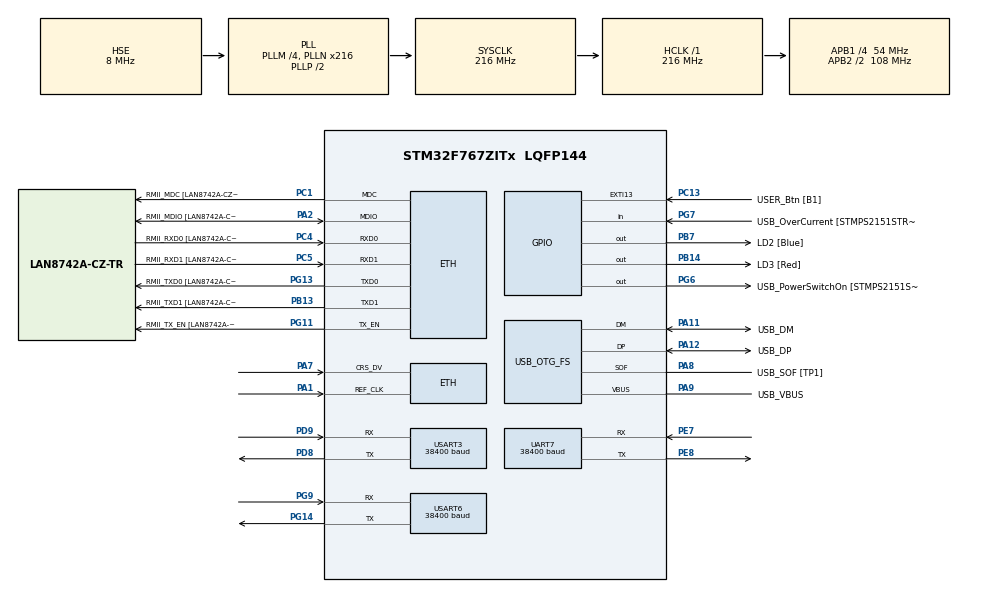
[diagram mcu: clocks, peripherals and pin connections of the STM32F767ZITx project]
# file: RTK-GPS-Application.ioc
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CORTEX_M7.CPU_DCache=Enabled
CORTEX_M7.CPU_ICache=Enabled
CORTEX_M7.Enable-Cortex_Memory_Protection_Unit_Region0_Settings=__NULL
CORTEX_M7.Enable-Cortex_Memory_Protection_Unit_Region1_Settings=__NULL
CORTEX_M7.Enable-Cortex_Memory_Protection_Unit_Region2_Settings=__NULL
CORTEX_M7.MPU_Control=MPU_PRIVILEGED_DEFAULT
CORTEX_M7.PREFETCH_ENABLE=0
Dma.Request0=UART7_RX
Dma.UART7_RX.0.Direction=DMA_PERIPH_TO_MEMORY
Dma.UART7_RX.0.FIFOMode=DMA_FIFOMODE_DISABLE
Dma.UART7_RX.0.Instance=DMA1_Stream3
Dma.UART7_RX.0.MemDataAlignment=DMA_MDATAALIGN_BYTE
Dma.UART7_RX.0.MemInc=DMA_MINC_ENABLE
Dma.UART7_RX.0.Mode=DMA_NORMAL
Dma.UART7_RX.0.PeriphDataAlignment=DMA_PDATAALIGN_BYTE
Dma.UART7_RX.0.PeriphInc=DMA_PINC_DISABLE
Dma.UART7_RX.0.Priority=DMA_PRIORITY_LOW
ETH.MACAddr=00\:80\:E1\:00\:00\:0A
ETH.MediaInterface=HAL_ETH_RMII_MODE
ETH.RxDescAddress=0x2002c000
ETH.TxDescAddress=0x2002c0a0
FREERTOS.INCLUDE_pcTaskGetTaskName=1
FREERTOS.INCLUDE_uxTaskGetStackHighWaterMark=1
FREERTOS.INCLUDE_vTaskDelayUntil=1
FREERTOS.INCLUDE_xQueueGetMutexHolder=1
FREERTOS.INCLUDE_xSemaphoreGetMutexHolder=1
FREERTOS.INCLUDE_xTaskGetCurrentTaskHandle=1
FREERTOS.Queues01=myQueue01,16,uint16_t,0,Dynamic,NULL,NULL
FREERTOS.Tasks01=defaultTask,0,256,StartDefaultTask,Default,NULL,Dynamic,NULL,NULL
FREERTOS.configGENERATE_RUN_TIME_STATS=1
FREERTOS.configRECORD_STACK_HIGH_ADDRESS=1
FREERTOS.configTOTAL_HEAP_SIZE=48000
FREERTOS.configUSE_NEWLIB_REENTRANT=1
FREERTOS.configUSE_STATS_FORMATTING_FUNCTIONS=1
FREERTOS.configUSE_TRACE_FACILITY=1
LWIP.BSP.number=1
LWIP.CMSIS_VERSION-Enabled=1
LWIP.GATEWAY_ADDRESS=192.168.178.001
LWIP.HTTPD_USE_MEM_POOL=0
LWIP.IP_ADDRESS=192.168.178.012
LWIP.LWIP_DHCP=0
LWIP.LWIP_HTTPD=1
LWIP.LWIP_HTTPD_CUSTOM_FILES=0
LWIP.MEMP_NUM_TCP_PCB=10
LWIP.MEMP_NUM_UDP_PCB=10
LWIP.MEM_SIZE=15*1024
LWIP.NETMASK_ADDRESS=255.255.255.000
LWIP.Version=v2.1.2_Cube
LWIP0.BSP.STBoard=false
LWIP0.BSP.api=BSP_COMPONENT_DRIVER
LWIP0.BSP.component=LAN8742
LWIP0.BSP.instance=LAN8742
LWIP0.BSP.name=Driver_PHY
LWIP0.BSP.semaphore=S_LAN8742
LWIP0.BSP.solution=LAN8742
Mcu.Family=STM32F7
Mcu.Name=STM32F767ZITx
Mcu.Package=LQFP144
NVIC.DMA1_Stream3_IRQn=true\:5\:0\:false\:false\:true\:true\:false\:true\:true
NVIC.ETH_IRQn=true\:5\:0\:false\:false\:true\:true\:false\:true\:true
NVIC.ETH_WKUP_IRQn=true\:5\:0\:false\:false\:true\:true\:true\:true\:true
NVIC.PriorityGroup=NVIC_PRIORITYGROUP_4
NVIC.TIM7_IRQn=true\:15\:0\:false\:false\:true\:false\:false\:true\:true
NVIC.TimeBase=TIM7_IRQn
NVIC.TimeBaseIP=TIM7
NVIC.UART7_IRQn=true\:5\:0\:false\:false\:true\:true\:true\:true\:true
NVIC.USART3_IRQn=true\:5\:0\:false\:false\:true\:true\:true\:true\:true
NVIC.USART6_IRQn=true\:5\:0\:false\:false\:true\:true\:true\:true\:true
PA1.Mode=RMII
PA1.Signal=ETH_REF_CLK
PA10.GPIO_Label=USB_ID
PA10.Signal=USB_OTG_FS_ID
PA11.GPIO_Label=USB_DM
PA11.Mode=Device_Only
PA11.Signal=USB_OTG_FS_DM
PA12.GPIO_Label=USB_DP
PA12.Mode=Device_Only
PA12.Signal=USB_OTG_FS_DP
PA13.GPIO_Label=TMS
PA13.Mode=Serial_Wire
PA13.Signal=SYS_JTMS-SWDIO
PA14.GPIO_Label=TCK
PA14.Mode=Serial_Wire
PA14.Signal=SYS_JTCK-SWCLK
PA2.GPIO_Label=RMII_MDIO [LAN8742A-CZ-TR_MDIO]
PA2.Mode=RMII
PA2.Signal=ETH_MDIO
PA7.Mode=RMII
PA7.Signal=ETH_CRS_DV
PA8.GPIO_Label=USB_SOF [TP1]
PA8.Mode=Activate_SOF_FS
PA8.Signal=USB_OTG_FS_SOF
PA9.GPIO_Label=USB_VBUS
PA9.Mode=Activate_VBUS
PA9.Signal=USB_OTG_FS_VBUS
PB13.GPIO_Label=RMII_TXD1 [LAN8742A-CZ-TR_TXD1]
PB13.Mode=RMII
PB13.Signal=ETH_TXD1
PB14.GPIO_Label=LD3 [Red]
PB14.Signal=GPIO_Output
PB3.GPIO_Label=SWO
PB3.Signal=SYS_JTDO-SWO
PB7.GPIO_Label=LD2 [Blue]
PB7.Signal=GPIO_Output
PC1.GPIO_Label=RMII_MDC [LAN8742A-CZ-TR_MDC]
PC1.Mode=RMII
PC1.Signal=ETH_MDC
PC13.GPIO_Label=USER_Btn [B1]
PC13.Signal=GPXTI13
PC14/OSC32_IN.Mode=LSE-External-Oscillator
PC14/OSC32_IN.Signal=RCC_OSC32_IN
PC15/OSC32_OUT.Mode=LSE-External-Oscillator
PC15/OSC32_OUT.Signal=RCC_OSC32_OUT
PC4.GPIO_Label=RMII_RXD0 [LAN8742A-CZ-TR_RXD0]
PC4.Mode=RMII
PC4.Signal=ETH_RXD0
PC5.GPIO_Label=RMII_RXD1 [LAN8742A-CZ-TR_RXD1]
PC5.Mode=RMII
PC5.Signal=ETH_RXD1
PD8.Mode=Asynchronous
PD8.Signal=USART3_TX
PD9.Mode=Asynchronous
PD9.Signal=USART3_RX
PE7.Mode=Asynchronous
PE7.Signal=UART7_RX
PE8.Mode=Asynchronous
PE8.Signal=UART7_TX
PG11.GPIO_Label=RMII_TX_EN [LAN8742A-CZ-TR_TXEN]
PG11.Mode=RMII
PG11.Signal=ETH_TX_EN
PG13.GPIO_Label=RMII_TXD0 [LAN8742A-CZ-TR_TXD0]
PG13.Mode=RMII
PG13.Signal=ETH_TXD0
PG14.Mode=Asynchronous
PG14.Signal=USART6_TX
PG6.GPIO_Label=USB_PowerSwitchOn [STMPS2151STR_EN]
PG6.Signal=GPIO_Output
PG7.GPIO_Label=USB_OverCurrent [STMPS2151STR_FAULT]
PG7.Signal=GPIO_Input
PG9.Mode=Asynchronous
PG9.Signal=USART6_RX
PH0/OSC_IN.GPIO_Label=MCO [STM32F103CBT6_PA8]
PH0/OSC_IN.Mode=HSE-External-Clock-Source
PH0/OSC_IN.Signal=RCC_OSC_IN
PH1/OSC_OUT.Mode=HSE-External-Clock-Source
PH1/OSC_OUT.Signal=RCC_OSC_OUT
ProjectManager.HeapSize=0x200
ProjectManager.StackSize=0x400
ProjectManager.TargetToolchain=STM32CubeIDE
RCC.48MHZClocksFreq_Value=24000000
RCC.AHBFreq_Value=216000000
RCC.APB1CLKDivider=RCC_HCLK_DIV4
RCC.APB1Freq_Value=54000000
RCC.APB1TimFreq_Value=108000000
RCC.APB2CLKDivider=RCC_HCLK_DIV2
RCC.APB2Freq_Value=108000000
RCC.APB2TimFreq_Value=216000000
RCC.CortexFreq_Value=216000000
RCC.HCLKFreq_Value=216000000
RCC.HSE_VALUE=8000000
RCC.HSI_VALUE=16000000
RCC.PLLM=4
RCC.PLLMUL=RCC_PLL_MUL9
RCC.PLLN=216
RCC.PLLQ=9
RCC.PRESCALERUSB=RCC_USBCLKSOURCE_PLL_DIV1_5
RCC.SYSCLKFreq_VALUE=216000000
RCC.SYSCLKSource=RCC_SYSCLKSOURCE_PLLCLK
RCC.SYSCLKSourceVirtual=RCC_SYSCLKSOURCE_PLLCLK
RCC.USBFreq_Value=48000000
RCC.VCOOutputFreq_Value=432000000
UART7.BaudRate=38400
USART3.BaudRate=38400
USART3.VirtualMode-Asynchronous=VM_ASYNC
USART6.BaudRate=38400
USART6.VirtualMode-Asynchronous=VM_ASYNC
USB_OTG_FS.VirtualMode=Device_Only
VP_FREERTOS_VS_CMSIS_V1.Mode=CMSIS_V1
VP_LWIP_VS_Enabled.Mode=Enabled
VP_SYS_VS_tim7.Mode=TIM7
board=NUCLEO-F767ZI

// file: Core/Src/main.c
/* USER CODE BEGIN Header */
/** @mainpage RTK-GPS zur Navigation von mobilen Arbeitsmaschinen
 *
 *	<img src="../img/17719_mobiletronics-gmbh.png" alt="Company image">
 *
 *  @section sec1 Einleitung
 *  Hier folgt eine kurze Einleitung...
 *
 *  @section sec2 Subsysteme
 *  @subsection sec2_1 Basis-Station
 *  @subsection sec2_2 Rover
 *
 * @author Marcel Lammerskitten
 */
// Todo: customise mainpage
/**
  ******************************************************************************
  * @file           : main.c
  * @brief          : Main program body
  ******************************************************************************
  * @attention
  *
  * Copyright (c) 2023 STMicroelectronics.
  * All rights reserved.
  *
  * This software is licensed under terms that can be found in the LICENSE file
  * in the root directory of this software component.
  * If no LICENSE file comes with this software, it is provided AS-IS.
  *
  ******************************************************************************
  */
/* USER CODE END Header */
#include <udpserver.hpp>
#include "main.h"
#include "cmsis_os.h"
#include "lwip.h"

/* USER CODE BEGIN Includes */
#include "flash.h"
#include "stm32f7xx_hal_uart_ex.h"
#include "string.h"
/* USER CODE END Includes */

UART_HandleTypeDef huart7;
UART_HandleTypeDef huart3;
UART_HandleTypeDef huart6;
DMA_HandleTypeDef hdma_uart7_rx;

PCD_HandleTypeDef hpcd_USB_OTG_FS;

osThreadId defaultTaskHandle;
osMessageQId myQueue01Handle;
/* USER CODE BEGIN PV */

#define RxBuf_SIZE		1472
#define	MainBuf_SIZE	1472

SemaphoreHandle_t xSemaphore = NULL;
SemaphoreHandle_t globalsSemaphore = NULL;

uint8_t RxBuf[RxBuf_SIZE];
uint8_t MainBuf[MainBuf_SIZE];

uint16_t RtcmMsgSize = 0;
uint16_t lastRtcmMsgSize = 0;
uint16_t bufPos = 0;
uint8_t isNewRTCM = 0;
uint8_t isRTCM = 0;

// Variable for flash memory access
FlashData_t flashConfig;
/* USER CODE END PV */

void SystemClock_Config(void);
static void MPU_Config(void);
static void MX_GPIO_Init(void);
static void MX_DMA_Init(void);
static void MX_USB_OTG_FS_PCD_Init(void);
static void MX_UART7_Init(void);
static void MX_USART3_UART_Init(void);
static void MX_USART6_UART_Init(void);
void StartDefaultTask(void const * argument);

/* USER CODE BEGIN PFP */
static void MX_UART7_Init_own(uint32_t baud);
/* USER CODE END PFP */

/* USER CODE BEGIN 0 */

//void HAL_UARTEx_RxEventCallback(UART_HandleTypeDef *huart, uint16_t Size)
//{
//	if(huart->Instance == UART7)
//	{
//		memcpy(MainBuf, RxBuf, Size);
//		HAL_UARTEx_ReceiveToIdle_DMA(&huart7, RxBuf, RxBuf_SIZE);
//		__HAL_DMA_DISABLE_IT(&hdma_uart7_rx, DMA_IT_HT);
//	}
//}

/* USER CODE END 0 */

int main(void)
{

  /* MPU Configuration--------------------------------------------------------*/
  MPU_Config();

  /* Enable I-Cache---------------------------------------------------------*/
  SCB_EnableICache();

  /* Enable D-Cache---------------------------------------------------------*/
  SCB_EnableDCache();

  /* MCU Configuration--------------------------------------------------------*/

  /* Reset of all peripherals, Initializes the Flash interface and the Systick. */
  HAL_Init();

  /* Configure the system clock */
  SystemClock_Config();

  /* Initialize all configured peripherals */
  MX_GPIO_Init();
  MX_DMA_Init();
  MX_USB_OTG_FS_PCD_Init();
  MX_UART7_Init();
  MX_USART3_UART_Init();
  MX_USART6_UART_Init();
  /* USER CODE BEGIN 2 */
//  typedef struct
//  {
//      ip4_addr_t 	ownIP;
//      ip4_addr_t 	vehicleIP;
//      ip4_addr_t 	rtcmBroadcastIP;
//      ip4_addr_t 	gateway;
//      ip4_addr_t 	netmask;
//      uint16_t 	vehicleUdpPort;
//      uint16_t 	reserved1;
//      uint16_t	rtcmUdpPort;
//      uint16_t	reserved2;
//      uint32_t	UART2Baud;
//      uint8_t 	isBase;
//      uint8_t		reserved3;
//      uint16_t	reserved4;
//  } FlashData_t;

//  Flash_Read_Data(FLASH_USER_SECTOR_11, (uint8_t *)&flashConfig, sizeof(flashConfig));
//  const char* ip_string = "192.168.178.15";
//  const char* ip_string1 = "255.255.255.0";
//  const char* ip_string2 = "192.168.178.1";
//  const char* ip_string3 = "255.255.255.255";
//  const char* ip_string4 = "192.168.178.47";
//  ip4addr_aton(ip_string, &flashConfig.ownIP);
//  ip4addr_aton(ip_string4, &flashConfig.vehicleIP);
//  ip4addr_aton(ip_string3, &flashConfig.rtcmBroadcastIP);
//  ip4addr_aton(ip_string2, &flashConfig.gateway);
//  ip4addr_aton(ip_string1, &flashConfig.netmask);
//  flashConfig.vehicleUdpPort = 5001;
//  flashConfig.rtcmUdpPort = 5000;
//  flashConfig.UART2Baud = 57600;
//  flashConfig.isBase = 1;
//  flashConfig.reserved1 = 1;
//  flashConfig.reserved2 = 1;
//  flashConfig.reserved3 = 1;
//  flashConfig.reserved4 = 1;
//  Flash_Write_Data(FLASH_USER_SECTOR_11, (uint8_t *)&flashConfig, sizeof(flashConfig));

  Flash_Read_Data(FLASH_USER_SECTOR_11, (uint8_t *)&flashConfig, sizeof(flashConfig));
//  // set UART7 baud rate to the same as the u-blox modules bau rate
  MX_UART7_Init_own(flashConfig.UART2Baud);

  HAL_UARTEx_ReceiveToIdle_DMA(&huart7, RxBuf, RxBuf_SIZE);
  __HAL_DMA_DISABLE_IT(&hdma_uart7_rx, DMA_IT_HT);

  /* Set the UART associated DMA handle */
//  __HAL_LINKDMA(&huart7, hdmarx, hdma_uart7_rx);

//  __HAL_DMA_ENABLE_IT(&hdma_uart7_rx, DMA_IT_TC);
//  HAL_UART_Receive_DMA(&huart7, (uint8_t *)RxBuf, sizeof(RxBuf));
//  /* Start receiving UART messages. */

//  __HAL_UART_ENABLE_IT(&huart7, UART_IT_IDLE);
//  HAL_UARTEx_ReceiveToIdle_DMA(&huart7, RxBuf, sizeof(RxBuf));
//  __HAL_DMA_DISABLE_IT(&hdma_uart7_rx, DMA_IT_HT);

//    xSemaphore = xSemaphoreCreateBinary();
    globalsSemaphore = xSemaphoreCreateMutex();
  /* USER CODE END 2 */

  /* Create the queue(s) */
  /* definition and creation of myQueue01 */
  osMessageQDef(myQueue01, 16, uint16_t);
  myQueue01Handle = osMessageCreate(osMessageQ(myQueue01), NULL);

  /* Create the thread(s) */
  /* definition and creation of defaultTask */
  osThreadDef(defaultTask, StartDefaultTask, osPriorityNormal, 0, 256);
  defaultTaskHandle = osThreadCreate(osThread(defaultTask), NULL);

  /* Start scheduler */
  osKernelStart();

  /* We should never get here as control is now taken by the scheduler */
  /* Infinite loop */
  while (1)
  {

  }
}

void SystemClock_Config(void)
{
  RCC_OscInitTypeDef RCC_OscInitStruct = {0};
  RCC_ClkInitTypeDef RCC_ClkInitStruct = {0};

  /** Configure LSE Drive Capability
  */
  HAL_PWR_EnableBkUpAccess();

  /** Configure the main internal regulator output voltage
  */
  __HAL_RCC_PWR_CLK_ENABLE();
  __HAL_PWR_VOLTAGESCALING_CONFIG(PWR_REGULATOR_VOLTAGE_SCALE1);

  /** Initializes the RCC Oscillators according to the specified parameters
  * in the RCC_OscInitTypeDef structure.
  */
  RCC_OscInitStruct.OscillatorType = RCC_OSCILLATORTYPE_HSE;
  RCC_OscInitStruct.HSEState = RCC_HSE_BYPASS;
  RCC_OscInitStruct.PLL.PLLState = RCC_PLL_ON;
  RCC_OscInitStruct.PLL.PLLSource = RCC_PLLSOURCE_HSE;
  RCC_OscInitStruct.PLL.PLLM = 4;
  RCC_OscInitStruct.PLL.PLLN = 216;
  RCC_OscInitStruct.PLL.PLLP = RCC_PLLP_DIV2;
  RCC_OscInitStruct.PLL.PLLQ = 9;
  RCC_OscInitStruct.PLL.PLLR = 2;
  if (HAL_RCC_OscConfig(&RCC_OscInitStruct) != HAL_OK)
  {
    Error_Handler();
  }

  /** Activate the Over-Drive mode
  */
  if (HAL_PWREx_EnableOverDrive() != HAL_OK)
  {
    Error_Handler();
  }

  /** Initializes the CPU, AHB and APB buses clocks
  */
  RCC_ClkInitStruct.ClockType = RCC_CLOCKTYPE_HCLK|RCC_CLOCKTYPE_SYSCLK
                              |RCC_CLOCKTYPE_PCLK1|RCC_CLOCKTYPE_PCLK2;
  RCC_ClkInitStruct.SYSCLKSource = RCC_SYSCLKSOURCE_PLLCLK;
  RCC_ClkInitStruct.AHBCLKDivider = RCC_SYSCLK_DIV1;
  RCC_ClkInitStruct.APB1CLKDivider = RCC_HCLK_DIV4;
  RCC_ClkInitStruct.APB2CLKDivider = RCC_HCLK_DIV2;

  if (HAL_RCC_ClockConfig(&RCC_ClkInitStruct, FLASH_LATENCY_7) != HAL_OK)
  {
    Error_Handler();
  }
}

static void MX_UART7_Init(void)
{

  huart7.Instance = UART7;
  huart7.Init.BaudRate = 57600;
  huart7.Init.WordLength = UART_WORDLENGTH_8B;
  huart7.Init.StopBits = UART_STOPBITS_1;
  huart7.Init.Parity = UART_PARITY_NONE;
  huart7.Init.Mode = UART_MODE_TX_RX;
  huart7.Init.HwFlowCtl = UART_HWCONTROL_NONE;
  huart7.Init.OverSampling = UART_OVERSAMPLING_16;
  huart7.Init.OneBitSampling = UART_ONE_BIT_SAMPLE_DISABLE;
  huart7.AdvancedInit.AdvFeatureInit = UART_ADVFEATURE_NO_INIT;
  if (HAL_UART_Init(&huart7) != HAL_OK)
  {
    Error_Handler();
  }
  /* USER CODE BEGIN UART7_Init 2 */

//  /* Enable IDLE line detection */
//  __HAL_UART_ENABLE_IT(&huart7, UART_IT_IDLE);
//
//  /* Start receiving UART messages. */
//	if(HAL_UART_Receive_DMA(&huart7, (uint8_t *)RxBuf, RxBuf_SIZE) != HAL_OK)
//	{
//	  Error_Handler();
//	}
////
////  HAL_UARTEx_ReceiveToIdle_DMA(&huart7, (uint8_t *)RxBuf, RxBuf_SIZE);
//  /* Set UART7 IRQ priority and enable it */
//  HAL_NVIC_SetPriority(UART7_IRQn, 5, 0);
//  HAL_NVIC_EnableIRQ(UART7_IRQn);

  /* USER CODE END UART7_Init 2 */

}

static void MX_USART3_UART_Init(void)
{

  huart3.Instance = USART3;
  huart3.Init.BaudRate = 38400;
  huart3.Init.WordLength = UART_WORDLENGTH_8B;
  huart3.Init.StopBits = UART_STOPBITS_1;
  huart3.Init.Parity = UART_PARITY_NONE;
  huart3.Init.Mode = UART_MODE_TX_RX;
  huart3.Init.HwFlowCtl = UART_HWCONTROL_NONE;
  huart3.Init.OverSampling = UART_OVERSAMPLING_16;
  huart3.Init.OneBitSampling = UART_ONE_BIT_SAMPLE_DISABLE;
  huart3.AdvancedInit.AdvFeatureInit = UART_ADVFEATURE_NO_INIT;
  if (HAL_UART_Init(&huart3) != HAL_OK)
  {
    Error_Handler();
  }

}

static void MX_USART6_UART_Init(void)
{

  huart6.Instance = USART6;
  huart6.Init.BaudRate = 38400;
  huart6.Init.WordLength = UART_WORDLENGTH_8B;
  huart6.Init.StopBits = UART_STOPBITS_1;
  huart6.Init.Parity = UART_PARITY_NONE;
  huart6.Init.Mode = UART_MODE_TX_RX;
  huart6.Init.HwFlowCtl = UART_HWCONTROL_NONE;
  huart6.Init.OverSampling = UART_OVERSAMPLING_16;
  huart6.Init.OneBitSampling = UART_ONE_BIT_SAMPLE_DISABLE;
  huart6.AdvancedInit.AdvFeatureInit = UART_ADVFEATURE_NO_INIT;
  if (HAL_UART_Init(&huart6) != HAL_OK)
  {
    Error_Handler();
  }

}

static void MX_USB_OTG_FS_PCD_Init(void)
{

  hpcd_USB_OTG_FS.Instance = USB_OTG_FS;
  hpcd_USB_OTG_FS.Init.dev_endpoints = 6;
  hpcd_USB_OTG_FS.Init.speed = PCD_SPEED_FULL;
  hpcd_USB_OTG_FS.Init.dma_enable = DISABLE;
  hpcd_USB_OTG_FS.Init.phy_itface = PCD_PHY_EMBEDDED;
  hpcd_USB_OTG_FS.Init.Sof_enable = ENABLE;
  hpcd_USB_OTG_FS.Init.low_power_enable = DISABLE;
  hpcd_USB_OTG_FS.Init.lpm_enable = DISABLE;
  hpcd_USB_OTG_FS.Init.vbus_sensing_enable = ENABLE;
  hpcd_USB_OTG_FS.Init.use_dedicated_ep1 = DISABLE;
  if (HAL_PCD_Init(&hpcd_USB_OTG_FS) != HAL_OK)
  {
    Error_Handler();
  }

}

static void MX_DMA_Init(void)
{

  /* DMA controller clock enable */
  __HAL_RCC_DMA1_CLK_ENABLE();

  /* DMA interrupt init */
  /* DMA1_Stream3_IRQn interrupt configuration */
  HAL_NVIC_SetPriority(DMA1_Stream3_IRQn, 5, 0);
  HAL_NVIC_EnableIRQ(DMA1_Stream3_IRQn);

}

static void MX_GPIO_Init(void)
{
  GPIO_InitTypeDef GPIO_InitStruct = {0};

  /* GPIO Ports Clock Enable */
  __HAL_RCC_GPIOC_CLK_ENABLE();
  __HAL_RCC_GPIOH_CLK_ENABLE();
  __HAL_RCC_GPIOA_CLK_ENABLE();
  __HAL_RCC_GPIOE_CLK_ENABLE();
  __HAL_RCC_GPIOB_CLK_ENABLE();
  __HAL_RCC_GPIOD_CLK_ENABLE();
  __HAL_RCC_GPIOG_CLK_ENABLE();

  /*Configure GPIO pin Output Level */
  HAL_GPIO_WritePin(GPIOB, LD3_Pin|LD2_Pin, GPIO_PIN_RESET);

  /*Configure GPIO pin Output Level */
  HAL_GPIO_WritePin(USB_PowerSwitchOn_GPIO_Port, USB_PowerSwitchOn_Pin, GPIO_PIN_RESET);

  /*Configure GPIO pin : USER_Btn_Pin */
  GPIO_InitStruct.Pin = USER_Btn_Pin;
  GPIO_InitStruct.Mode = GPIO_MODE_IT_RISING;
  GPIO_InitStruct.Pull = GPIO_NOPULL;
  HAL_GPIO_Init(USER_Btn_GPIO_Port, &GPIO_InitStruct);

  /*Configure GPIO pins : LD3_Pin LD2_Pin */
  GPIO_InitStruct.Pin = LD3_Pin|LD2_Pin;
  GPIO_InitStruct.Mode = GPIO_MODE_OUTPUT_PP;
  GPIO_InitStruct.Pull = GPIO_NOPULL;
  GPIO_InitStruct.Speed = GPIO_SPEED_FREQ_LOW;
  HAL_GPIO_Init(GPIOB, &GPIO_InitStruct);

  /*Configure GPIO pin : USB_PowerSwitchOn_Pin */
  GPIO_InitStruct.Pin = USB_PowerSwitchOn_Pin;
  GPIO_InitStruct.Mode = GPIO_MODE_OUTPUT_PP;
  GPIO_InitStruct.Pull = GPIO_NOPULL;
  GPIO_InitStruct.Speed = GPIO_SPEED_FREQ_LOW;
  HAL_GPIO_Init(USB_PowerSwitchOn_GPIO_Port, &GPIO_InitStruct);

  /*Configure GPIO pin : USB_OverCurrent_Pin */
  GPIO_InitStruct.Pin = USB_OverCurrent_Pin;
  GPIO_InitStruct.Mode = GPIO_MODE_INPUT;
  GPIO_InitStruct.Pull = GPIO_NOPULL;
  HAL_GPIO_Init(USB_OverCurrent_GPIO_Port, &GPIO_InitStruct);

}

/* USER CODE BEGIN 4 */
// Own UART init-function customize baud rate
static void MX_UART7_Init_own(uint32_t baud)
{

  /* USER CODE BEGIN UART7_Init 0 */

  /* USER CODE END UART7_Init 0 */

  /* USER CODE BEGIN UART7_Init 1 */

  /* USER CODE END UART7_Init 1 */
  huart7.Instance = UART7;
  huart7.Init.BaudRate = baud;
  huart7.Init.WordLength = UART_WORDLENGTH_8B;
  huart7.Init.StopBits = UART_STOPBITS_1;
  huart7.Init.Parity = UART_PARITY_NONE;
  huart7.Init.Mode = UART_MODE_TX_RX;
  huart7.Init.HwFlowCtl = UART_HWCONTROL_NONE;
  huart7.Init.OverSampling = UART_OVERSAMPLING_16;
  huart7.Init.OneBitSampling = UART_ONE_BIT_SAMPLE_DISABLE;
  huart7.AdvancedInit.AdvFeatureInit = UART_ADVFEATURE_NO_INIT;
  if (HAL_UART_Init(&huart7) != HAL_OK)
  {
    Error_Handler();
  }
  /* USER CODE BEGIN UART7_Init 2 */
  /* USER CODE END UART7_Init 2 */

}

/* USER CODE END 4 */

void StartDefaultTask(void const * argument)
{
  /* init code for LWIP */
  MX_LWIP_Init();
  /* USER CODE BEGIN 5 */

  void app(void);
  app();

  void udpserver_init(void);
  udpserver_init();

  void http_server_init(void);
  http_server_init();

//  vTaskDelete(defaultTaskHandle);

  /* Infinite loop */
  for(;;)
  {
	  HAL_UARTEx_ReceiveToIdle_DMA(&huart7, RxBuf, RxBuf_SIZE);
	  __HAL_DMA_DISABLE_IT(&hdma_uart7_rx, DMA_IT_HT);
	  osDelay(10);
  }
  /* USER CODE END 5 */
}

/* MPU Configuration */

void MPU_Config(void)
{

  /* Disables the MPU */
  HAL_MPU_Disable();
  /* Enables the MPU */
  HAL_MPU_Enable(MPU_PRIVILEGED_DEFAULT);

}

void HAL_TIM_PeriodElapsedCallback(TIM_HandleTypeDef *htim)
{
  if (htim->Instance == TIM7) {
    HAL_IncTick();
  }
}

void Error_Handler(void)
{
  __disable_irq();
  while (1)
  {
  }
}
